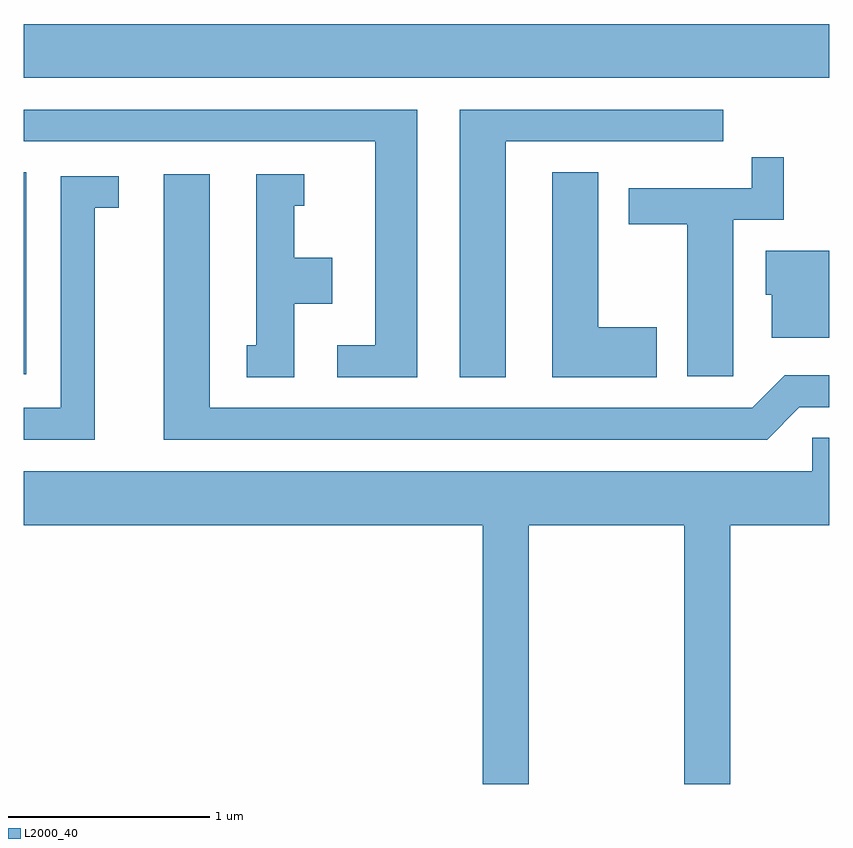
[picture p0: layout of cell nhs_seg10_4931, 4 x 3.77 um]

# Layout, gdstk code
import gdstk
lib = gdstk.Library(unit=1e-6, precision=1e-09)
def R(c, l, rs):  # rectangles x0, y0, x1, y1
    for r in rs: c.add(gdstk.rectangle(r[:2], r[2:], *l))
def P(c, l, *ps):  # polygons
    for p in ps: c.add(gdstk.Polygon(p, *l))
L2000_40 = (2000, 40)

nhs_seg10_4931 = lib.new_cell('nhs_seg10_4931')
R(nhs_seg10_4931, L2000_40, [(329.611,2194.586,329.624,2195.589), (329.611,2196.056,333.611,2196.324)])
P(nhs_seg10_4931, L2000_40, [(331.564,2195.899),(329.611,2195.899),(329.611,2195.741),(331.356,2195.741),(331.356,2194.729),(331.168,2194.729),(331.168,2194.571),(331.564,2194.571)],
  [(332.004,2195.741),(333.083,2195.741),(333.083,2195.899),(331.776,2195.899),(331.776,2194.571),(332.004,2194.571)],
  [(333.134,2195.351),(333.384,2195.351),(333.384,2195.663),(333.226,2195.663),(333.226,2195.509),(332.616,2195.509),(332.616,2195.331),(332.906,2195.331),(332.906,2194.576),(333.134,2194.576)],
  [(332.754,2194.819),(332.464,2194.819),(332.464,2195.589),(332.236,2195.589),(332.236,2194.571),(332.754,2194.571)],
  [(333.462,2194.421),(333.611,2194.421),(333.611,2194.579),(333.389,2194.579),(333.229,2194.419),(330.534,2194.419),(330.534,2195.579),(330.306,2195.579),(330.306,2194.261),(333.302,2194.261)],
  [(330.954,2194.936),(331.144,2194.936),(331.144,2195.164),(330.954,2195.164),(330.954,2195.421),(331.003,2195.421),(331.003,2195.579),(330.766,2195.579),(330.766,2194.729),(330.718,2194.729),(330.718,2194.571),(330.954,2194.571)],
  [(329.964,2195.411),(330.083,2195.411),(330.083,2195.569),(329.796,2195.569),(329.796,2194.419),(329.611,2194.419),(329.611,2194.261),(329.964,2194.261)],
  [(333.611,2195.199),(333.296,2195.199),(333.296,2194.981),(333.326,2194.981),(333.326,2194.766),(333.611,2194.766)],
  [(332.119,2193.836),(332.891,2193.836),(332.891,2192.551),(333.119,2192.551),(333.119,2193.836),(333.611,2193.836),(333.611,2194.269),(333.526,2194.269),(333.526,2194.104),(329.611,2194.104),(329.611,2193.836),(331.891,2193.836),(331.891,2192.551),(332.119,2192.551)])

lib.write_gds('nhs_seg10_4931.gds')
